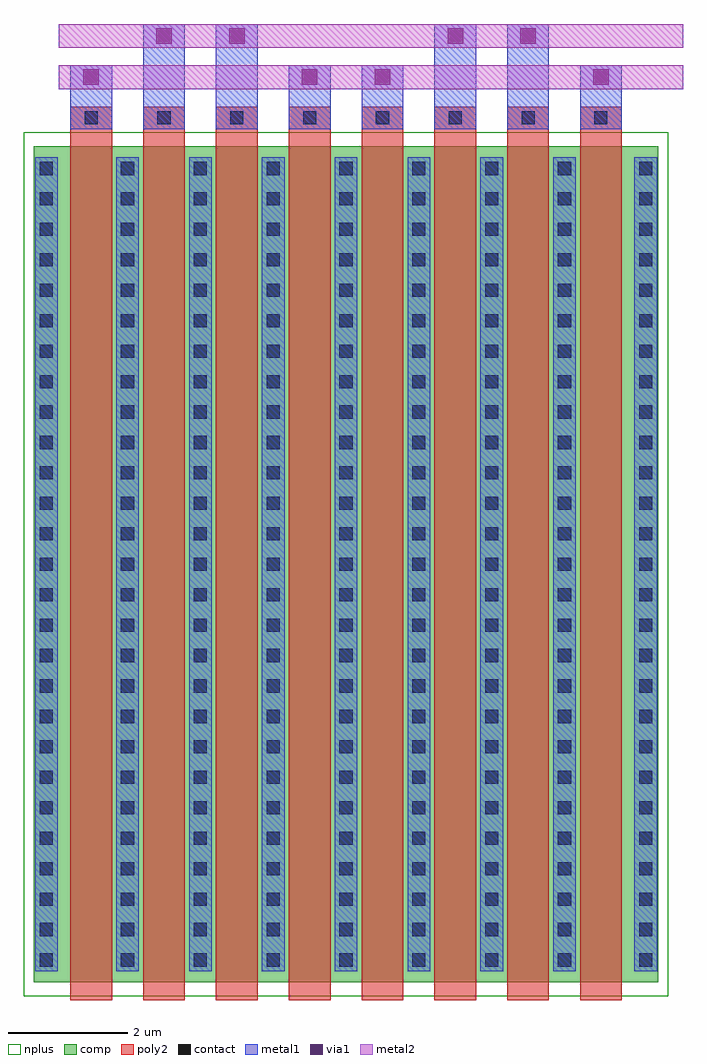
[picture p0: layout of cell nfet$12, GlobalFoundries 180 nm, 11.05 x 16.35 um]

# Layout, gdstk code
import gdstk
lib = gdstk.Library(unit=1e-6, precision=1e-09)
def R(c, l, rs):  # rectangles x0, y0, x1, y1
    for r in rs: c.add(gdstk.rectangle(r[:2], r[2:], *l))
def A(c, l, x, y, w, h, nx, ny, dx, dy):  # array of equal rectangles
    R(c, l, [(x+i*dx, y+j*dy, x+i*dx+w, y+j*dy+h) for i in range(nx) for j in range(ny)])
comp = (22, 0)
poly2 = (30, 0)
nplus = (32, 0)
contact = (33, 0)
metal1 = (34, 0)
via1 = (35, 0)
metal2 = (36, 0)

nfet_12 = lib.new_cell('nfet$12')
R(nfet_12, comp, [(-0.42,0,10.04,14)])
A(nfet_12, poly2, 0.19, -0.3, 0.7, 14.96, 8, 1, 1.22, 0)
R(nfet_12, nplus, [(-0.59,-0.24,10.21,14.24)])
A(nfet_12, contact, -0.32, 0.26, 0.22, 0.22, 1, 27, 0, 0.51)
A(nfet_12, contact, 1.04, 0.26, 0.22, 0.22, 7, 27, 1.22, 0.51)
A(nfet_12, contact, 9.72, 0.26, 0.22, 0.22, 1, 27, 0, 0.51)
A(nfet_12, contact, 0.43, 14.37, 0.22, 0.22, 8, 1, 1.22, 0)
A(nfet_12, metal1, 0.96, 0.18, 0.38, 13.64, 7, 1, 1.22, 0)
R(nfet_12, metal1, [(-0.4,0.18,-0.02,13.82), (9.64,0.18,10.02,13.82), (0.19,14.29,0.89,15.36), (1.41,14.29,2.11,16.05), (2.63,14.29,3.33,16.05), (3.85,14.29,4.55,15.36), (5.07,14.29,5.77,15.36), (6.29,14.29,6.99,16.05), (7.51,14.29,8.21,16.05), (8.73,14.29,9.43,15.36)])
R(nfet_12, via1, [(0.41,15.03,0.67,15.29), (4.07,15.03,4.33,15.29), (5.29,15.03,5.55,15.29), (8.95,15.03,9.21,15.29), (1.63,15.72,1.89,15.98), (2.85,15.72,3.11,15.98), (6.51,15.72,6.77,15.98), (7.73,15.72,7.99,15.98)])
R(nfet_12, metal2, [(0,14.96,10.46,15.36), (0,15.65,10.46,16.05)])

lib.write_gds('nfet_12.gds')
